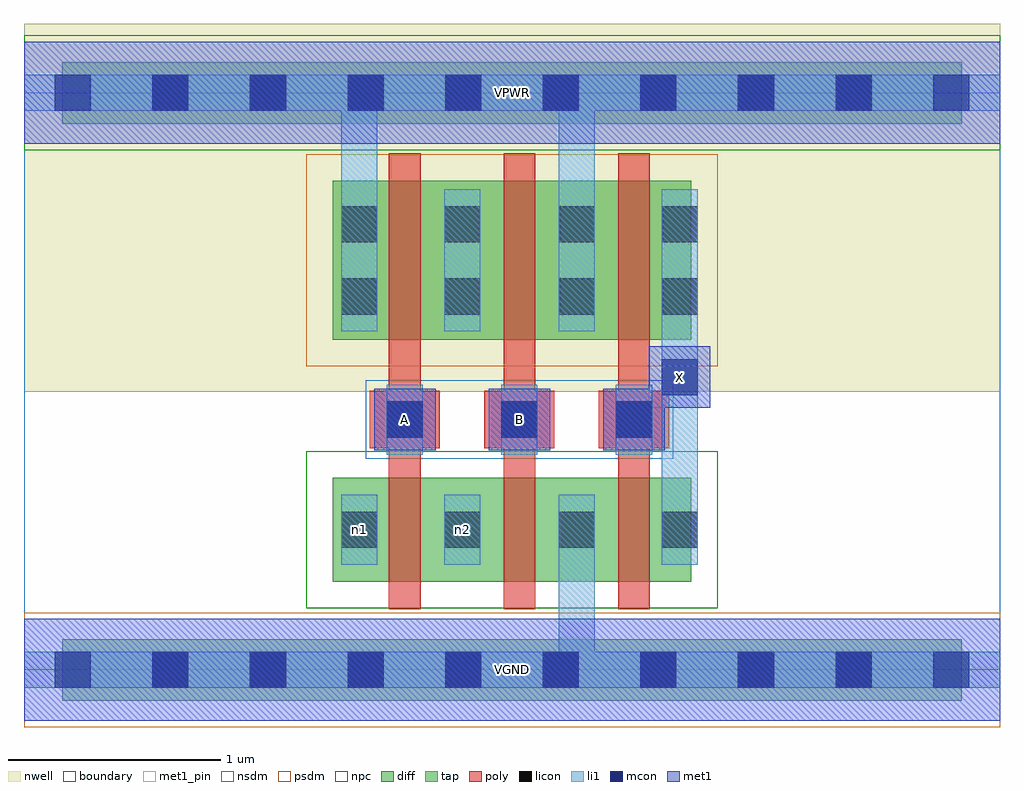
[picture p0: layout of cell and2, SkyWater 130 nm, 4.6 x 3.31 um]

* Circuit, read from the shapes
.subckt and2 A B VGND VPWR X n1 n2
XM1 n2 A n1 VGND sky130_fd_pr__nfet_01v8 w=0.49 l=0.15
XM2 VGND B n2 VGND sky130_fd_pr__nfet_01v8 w=0.49 l=0.15
XM3 X X VGND VGND sky130_fd_pr__nfet_01v8 w=0.49 l=0.15
XM4 n3 A VPWR VPWR sky130_fd_pr__pfet_01v8 w=0.75 l=0.15
XM5 VPWR B n3 VPWR sky130_fd_pr__pfet_01v8 w=0.75 l=0.15
XM6 X X VPWR VPWR sky130_fd_pr__pfet_01v8 w=0.75 l=0.15
.ends

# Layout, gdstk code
import gdstk
lib = gdstk.Library(unit=1e-6, precision=1e-09)
def R(c, l, rs):  # rectangles x0, y0, x1, y1
    for r in rs: c.add(gdstk.rectangle(r[:2], r[2:], *l))
def A(c, l, x, y, w, h, nx, ny, dx, dy):  # array of equal rectangles
    R(c, l, [(x+i*dx, y+j*dy, x+i*dx+w, y+j*dy+h) for i in range(nx) for j in range(ny)])
nwell = (64, 20)
diff = (65, 20)
tap = (65, 44)
poly = (66, 20)
licon = (66, 44)
li1 = (67, 20)
mcon = (67, 44)
met1_pin = (68, 16)
met1 = (68, 20)
nsdm = (93, 44)
psdm = (94, 20)
npc = (95, 20)
boundary = (235, 4)

and2 = lib.new_cell('and2')
R(and2, nwell, [(0,1.31,4.6,3.045)])
R(and2, diff, [(1.455,0.415,3.145,0.905), (1.455,1.555,3.145,2.305)])
R(and2, tap, [(0.18,-0.145,4.42,0.145), (0.18,2.575,4.42,2.865)])
A(and2, poly, 1.72, 0.285, 0.15, 2.15, 3, 1, 0.54, 0)
A(and2, poly, 1.63, 1.045, 0.33, 0.27, 3, 1, 0.54, 0)
A(and2, licon, 0.605, -0.085, 0.17, 0.17, 8, 2, 0.46, 2.72)
A(and2, licon, 1.71, 1.095, 0.17, 0.17, 3, 1, 0.54, 0)
R(and2, licon, [(1.495,0.575,1.665,0.745), (1.98,0.575,2.15,0.745), (2.52,0.575,2.69,0.745), (3.005,0.575,3.175,0.745), (1.495,1.675,1.665,1.845), (1.98,1.675,2.15,1.845), (2.52,1.675,2.69,1.845), (3.005,1.675,3.175,1.845), (1.495,2.015,1.665,2.185), (1.98,2.015,2.15,2.185), (2.52,2.015,2.69,2.185), (3.005,2.015,3.175,2.185)])
A(and2, li1, 1.71, 1.015, 0.17, 0.33, 3, 1, 0.54, 0)
R(and2, li1, [(0,-0.085,4.6,0.085), (2.52,-0.085,2.69,0.825), (1.495,0.495,1.665,0.825), (1.98,0.495,2.15,0.825), (2.52,0.495,2.69,0.825), (3.005,0.495,3.175,0.825), (3.005,0.495,3.175,2.265), (1.495,1.595,1.665,2.265), (1.495,1.595,1.665,2.805), (1.98,1.595,2.15,2.265), (2.52,1.595,2.69,2.265), (2.52,1.595,2.69,2.805), (3.005,1.595,3.175,2.265), (0,2.635,4.6,2.805)])
A(and2, mcon, 0.145, -0.085, 0.17, 0.17, 10, 2, 0.46, 2.72)
A(and2, mcon, 1.71, 1.095, 0.17, 0.17, 3, 1, 0.54, 0)
R(and2, mcon, [(3.005,1.295,3.175,1.465)])
R(and2, met1_pin, [(0,-0.24,4.6,0.24), (1.65,1.035,1.94,1.325), (2.19,1.035,2.48,1.325), (2.945,1.235,3.235,1.525), (0,2.48,4.6,2.96)])
A(and2, met1, 1.65, 1.035, 0.29, 0.29, 3, 1, 0.54, 0)
R(and2, met1, [(0,-0.24,4.6,0.24), (2.945,1.235,3.235,1.525), (0,2.48,4.6,2.96)])
R(and2, nsdm, [(1.33,0.29,3.27,1.03), (0,2.45,4.6,2.99)])
R(and2, psdm, [(0,-0.27,4.6,0.27), (1.33,1.43,3.27,2.43)])
R(and2, npc, [(1.61,0.995,3.06,1.365)])
R(and2, boundary, [(0,0,4.6,2.72)])
and2.add(gdstk.Label('n1', (1.58,0.66), layer=67, texttype=5))
and2.add(gdstk.Label('n2', (2.065,0.66), layer=67, texttype=5))
and2.add(gdstk.Label('A', (1.795,1.18), layer=68, texttype=5))
and2.add(gdstk.Label('B', (2.335,1.18), layer=68, texttype=5))
and2.add(gdstk.Label('X', (3.09,1.38), layer=68, texttype=5))
and2.add(gdstk.Label('VPWR', (2.3,2.72), layer=68, texttype=5))
and2.add(gdstk.Label('VGND', (2.3,0), layer=68, texttype=5))
and2.add(gdstk.Label('A', (1.795,1.18), layer=68, texttype=16))
and2.add(gdstk.Label('B', (2.335,1.18), layer=68, texttype=16))
and2.add(gdstk.Label('X', (3.09,1.38), layer=68, texttype=16))
and2.add(gdstk.Label('VPWR', (2.3,2.72), layer=68, texttype=16))
and2.add(gdstk.Label('VGND', (2.3,0), layer=68, texttype=16))

lib.write_gds('and2.gds')
